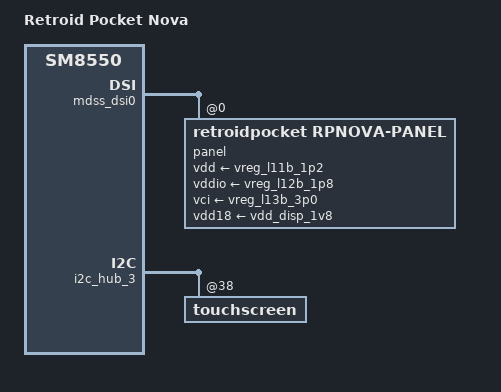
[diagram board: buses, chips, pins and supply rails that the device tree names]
// SPDX-License-Identifier: BSD-3-Clause
/*
 * Copyright (c) 2026, Nova-Deck.
 */

/dts-v1/;

#include "qcs8550-retroidpocket-rp6.dts"

/ {
	model = "Retroid Pocket Nova";
	compatible = "retroidpocket,rpnova", "qcom,qcs8550", "qcom,sm8550";
};

/* The panel sets its own brightness over DCS; the RP6's PWM backlight is not wired. */
&backlight {
	status = "disabled";
};

/* The panel's 2.8V rail is enabled from GPIO 143 here, not the RP6's 142. */
&vdd_disp_2v8 {
	gpio = <&tlmm 143 GPIO_ACTIVE_HIGH>;
};

/*
 * 4.5" 1280x960 (4:3) command-mode panel on an Ilitek IL97680A, wired NATIVE
 * LANDSCAPE — unlike the RP6's portrait VTDR6130, so the inherited rotation = <270>
 * must go or the compositor would rotate an already-landscape scanout.
 */
&mdss_dsi0 {
	panel@0 {
		compatible = "retroidpocket,rpnova-panel";
		/delete-property/ backlight;
		/delete-property/ avdd-supply;

		vdd-supply = <&vreg_l11b_1p2>;
		vddio-supply = <&vreg_l12b_1p8>;
		vci-supply = <&vreg_l13b_3p0>;
		vdd18-supply = <&vdd_disp_1v8>;
		vdd28-supply = <&vdd_disp_2v8>;

		rotation = <0>;
	};
};

/* Landscape digitizer: same axis order as the panel, so no Y inversion either. */
&i2c_hub_3 {
	touchscreen@38 {
		touchscreen-size-x = <1280>;
		touchscreen-size-y = <960>;
		/delete-property/ touchscreen-inverted-y;
	};
};

/*
 * The Nova's left stick reports both axes mirrored relative to the RP6 it inherits
 * from, so flip X and Y back in the driver. The right stick is already correct —
 * do NOT add invert-rx/invert-ry.
 *
 * Both analog triggers idle a little above zero, which reads as permanently
 * half-pulled; a deadzone of 100 (axis-range is 1024) swallows the rest offset
 * without eating usable travel.
 */
&gamepad {
	invert-x;
	invert-y;
	trigger-left-deadzone = <100>;
	trigger-right-deadzone = <100>;
};
